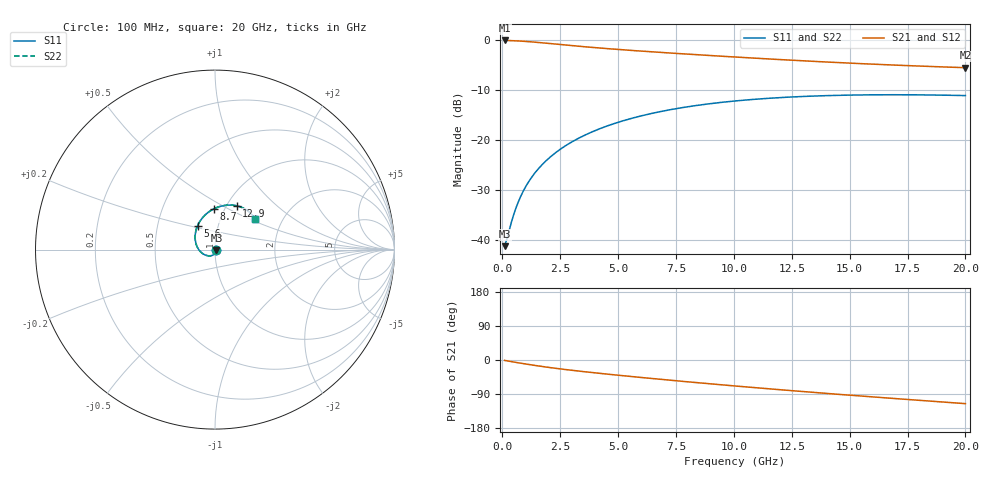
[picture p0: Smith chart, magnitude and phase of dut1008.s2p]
! Touchstone file exported from HFSS 2024.1.0
!  File:  C:/UserFiles/LocalFiles/RDL_TSV_Batchsim/temp_RDL_TSV_1008_1780078191.aedt
!  Generated:  02:25:08 AM May 30, 2026
!  Design:  RDL_TSV
!  Project:  temp_RDL_TSV_1008_1780078191
!  Setup:  Setup1
!  Solution:  Sweep
! Variables:
!  dtsv = 7.89um
!  hbump = 3um
!  htsv = 85.24um
!  ldown = 154.7um
!  lrdl = 212.29um
!  p = 40
!  p1 = 45.24um
!  rhole = 10um
!  subl = 1313.26um
!  t = 450um
!  tdown = 2.4um
!  trdl = 2.69um
!  viad = 10um
!  wdown = 29.21um
!  wrdl = 27.57um
!  xbump = 18um
# GHz S MA R 50.000000
! Terminal data exported
! Port[1] = TM1_1_T1
! Port[2] = TM1_4_T1
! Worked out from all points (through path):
!   200 points, 100 MHz to 20 GHz, reference 50 ohm
!   highest |S21| = -0.07 dB at 100 MHz (marker M1); lowest = -5.5 dB at 20 GHz (marker M2)
!   group delay of S21, straight-line fit = 15.1 ps
!   lowest |S11| = -41.3 dB at 100 MHz (marker M3), VSWR 1.02, Z = 50.8 - j0.346 ohm
!   |S11| at or under -10 dB: start of sweep to end of sweep
!   |S22| runs from -41.3 to -10.9 dB; largest |S21 - S12| = 9.4e-14
!   S11 on the Smith chart (normalised r, x): 100 MHz: 1.02, -0.01; 5.6 GHz: 0.80, +0.22; 8.7 GHz: 0.89, +0.42; 12.9 GHz: 1.11, +0.59; 20 GHz: 1.46, +0.53
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0.1  0.008634 -23.2  0.9916 -1.1  0.9916 -1.1  0.008634 -23.2
! Gamma 0 0 0 0
! Port Impedance 50 0 50 0
0.2  0.01024 -42.6  0.9906 -2.2  0.9906 -2.2  0.01024 -42.6
0.4  0.0152 -69.4  0.9873 -4.4  0.9873 -4.4  0.0152 -69.4
0.5  0.0181 -79.0  0.9851 -5.4  0.9851 -5.4  0.0181 -79.0
0.7  0.02423 -94.4  0.9799 -7.5  0.9799 -7.5  0.02423 -94.4
0.8  0.02737 -100.8  0.9768 -8.5  0.9768 -8.5  0.02737 -100.8
1  0.03372 -112.2  0.97 -10.5  0.97 -10.5  0.03372 -112.2
1.3  0.04327 -126.8  0.9582 -13.4  0.9582 -13.4  0.04328 -126.8
1.7  0.05591 -143.4  0.9405 -17.0  0.9405 -17.0  0.05592 -143.4
2.2  0.07142 -161.1  0.917 -21.1  0.917 -21.1  0.07144 -161.1
2.8  0.08953 -179.1  0.8893 -25.7  0.8893 -25.7  0.08955 -179.1
3.5  0.1099 163.5  0.8596 -30.6  0.8596 -30.6  0.1099 163.5
4.5  0.1373 143.4  0.8225 -37.1  0.8225 -37.1  0.1373 143.4
5.6  0.1649 126.0  0.7875 -43.8  0.7875 -43.8  0.165 126.0
6.8  0.1917 110.8  0.7539 -50.8  0.7539 -50.8  0.1918 110.8
8.7  0.2265 92.0  0.7068 -61.4  0.7068 -61.4  0.2267 92.0
10.1  0.2462 81.0  0.6757 -68.8  0.6757 -68.8  0.2464 81.0
11.4  0.2603 72.3  0.6492 -75.5  0.6492 -75.5  0.2605 72.3
12.9  0.272 63.7  0.6216 -82.9  0.6216 -82.9  0.2722 63.7
13.4  0.2749 61.1  0.613 -85.3  0.613 -85.3  0.2751 61.1
16.7  0.2836 47.1  0.5648 -100.6  0.5648 -100.6  0.2838 47.1
20  0.2782 37.1  0.5293 -115.2  0.5293 -115.2  0.2784 37.1
